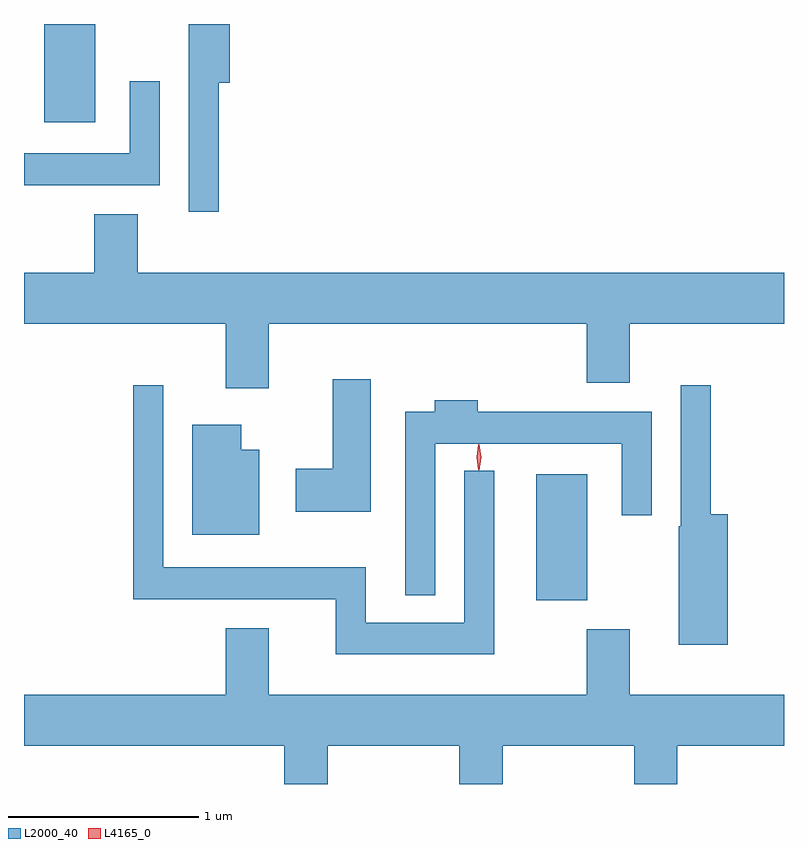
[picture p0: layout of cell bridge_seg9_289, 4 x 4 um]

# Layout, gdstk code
import gdstk
lib = gdstk.Library(unit=1e-6, precision=1e-09)
def R(c, l, rs):  # rectangles x0, y0, x1, y1
    for r in rs: c.add(gdstk.rectangle(r[:2], r[2:], *l))
def P(c, l, *ps):  # polygons
    for p in ps: c.add(gdstk.Polygon(p, *l))
L2000_40 = (2000, 40)
L4165_0 = (4165, 0)

bridge_seg9_289 = lib.new_cell('bridge_seg9_289')
R(bridge_seg9_289, L2000_40, [(1029.996,2070.281,1030.264,2070.944), (1027.406,2072.796,1027.674,2073.314)])
P(bridge_seg9_289, L2000_40, [(1028.324,2073.006),(1028.384,2073.006),(1028.384,2073.314),(1028.166,2073.314),(1028.166,2072.327),(1028.324,2072.327)],
  [(1028.014,2073.012),(1027.856,2073.012),(1027.856,2072.634),(1027.3,2072.634),(1027.3,2072.466),(1028.014,2072.466)],
  [(1028.589,2071.736),(1030.261,2071.736),(1030.261,2071.426),(1030.489,2071.426),(1030.489,2071.736),(1031.3,2071.736),(1031.3,2072.004),(1027.899,2072.004),(1027.899,2072.314),(1027.671,2072.314),(1027.671,2072.004),(1027.3,2072.004),(1027.3,2071.736),(1028.361,2071.736),(1028.361,2071.396),(1028.589,2071.396)],
  [(1029.124,2071.444),(1028.926,2071.444),(1028.926,2070.974),(1028.731,2070.974),(1028.731,2070.746),(1029.124,2070.746)],
  [(1029.774,2070.963),(1029.616,2070.963),(1029.616,2070.164),(1029.099,2070.164),(1029.099,2070.454),(1028.034,2070.454),(1028.034,2071.413),(1027.876,2071.413),(1027.876,2070.286),(1028.941,2070.286),(1028.941,2069.996),(1029.774,2069.996)],
  [(1031.004,2070.734),(1030.914,2070.734),(1030.914,2071.413),(1030.756,2071.413),(1030.756,2070.67),(1030.746,2070.67),(1030.746,2070.046),(1031.004,2070.046)],
  [(1029.464,2071.106),(1030.446,2071.106),(1030.446,2070.728),(1030.604,2070.728),(1030.604,2071.274),(1029.689,2071.274),(1029.689,2071.334),(1029.461,2071.334),(1029.461,2071.274),(1029.306,2071.274),(1029.306,2070.308),(1029.464,2070.308)],
  [(1028.539,2071.074),(1028.444,2071.074),(1028.444,2071.204),(1028.186,2071.204),(1028.186,2070.626),(1028.539,2070.626)],
  [(1028.899,2069.516),(1029.591,2069.516),(1029.591,2069.314),(1029.819,2069.314),(1029.819,2069.516),(1030.511,2069.516),(1030.511,2069.314),(1030.739,2069.314),(1030.739,2069.516),(1031.3,2069.516),(1031.3,2069.784),(1030.489,2069.784),(1030.489,2070.129),(1030.261,2070.129),(1030.261,2069.784),(1028.589,2069.784),(1028.589,2070.134),(1028.361,2070.134),(1028.361,2069.784),(1027.3,2069.784),(1027.3,2069.516),(1028.671,2069.516),(1028.671,2069.314),(1028.899,2069.314)])
P(bridge_seg9_289, L4165_0, [(1029.696,2070.964),(1029.696,2070.964),(1029.686,2071.033),(1029.696,2071.103),(1029.696,2071.103),(1029.697,2071.103),(1029.706,2071.033),(1029.697,2070.964)],
  [(1029.693,2070.967),(1029.692,2070.968),(1029.682,2071.034),(1029.692,2071.1),(1029.692,2071.1),(1029.693,2071.1),(1029.702,2071.034),(1029.693,2070.968)])

lib.write_gds('bridge_seg9_289.gds')
